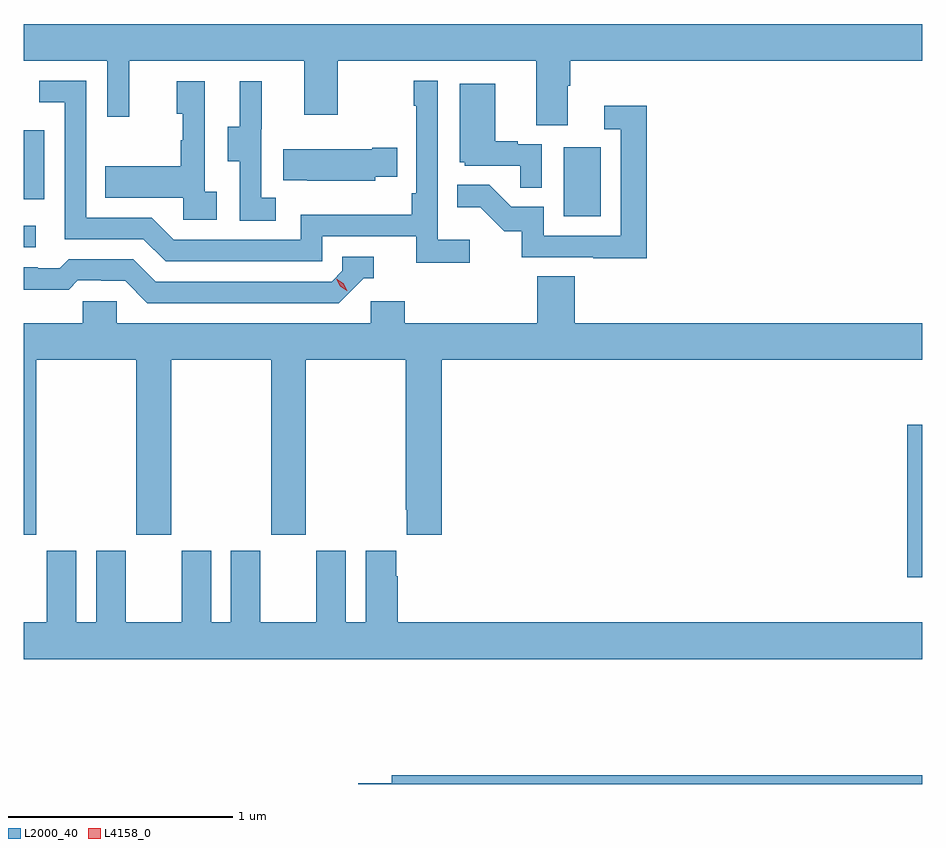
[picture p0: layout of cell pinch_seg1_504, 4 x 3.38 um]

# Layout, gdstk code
import gdstk
lib = gdstk.Library(unit=1e-6, precision=1e-09)
def R(c, l, rs):  # rectangles x0, y0, x1, y1
    for r in rs: c.add(gdstk.rectangle(r[:2], r[2:], *l))
def P(c, l, *ps):  # polygons
    for p in ps: c.add(gdstk.Polygon(p, *l))
L2000_40 = (2000, 40)
L4158_0 = (4158, 0)

pinch_seg1_504 = lib.new_cell('pinch_seg1_504')
R(pinch_seg1_504, L2000_40, [(1141.471,526.788,1141.538,527.468), (1137.538,528.258,1137.592,528.354), (1139.942,528.396,1140.106,528.703), (1137.538,528.471,1137.63,528.78)])
P(pinch_seg1_504, L2000_40, [(1139.959,528.976),(1139.972,528.976),(1139.972,529.088),(1141.538,529.088),(1141.538,529.252),(1137.538,529.252),(1137.538,529.088),(1137.909,529.088),(1137.909,528.84),(1138.007,528.84),(1138.007,529.088),(1138.787,529.088),(1138.787,528.849),(1138.935,528.849),(1138.935,529.088),(1139.819,529.088),(1139.819,528.802),(1139.959,528.802)],
  [(1139.524,528.292),(1139.382,528.292),(1139.382,529),(1139.274,529),(1139.274,528.887),(1139.286,528.887),(1139.286,528.499),(1139.266,528.499),(1139.266,528.403),(1138.77,528.403),(1138.77,528.291),(1138.206,528.291),(1138.107,528.39),(1137.816,528.39),(1137.816,528.999),(1137.607,528.999),(1137.607,528.903),(1137.72,528.903),(1137.72,528.294),(1138.07,528.294),(1138.169,528.195),(1138.866,528.195),(1138.866,528.306),(1139.285,528.306),(1139.285,528.19),(1139.524,528.19)],
  [(1138.396,528.506),(1138.344,528.506),(1138.344,528.997),(1138.22,528.997),(1138.22,528.852),(1138.246,528.852),(1138.246,528.734),(1138.236,528.734),(1138.236,528.619),(1137.901,528.619),(1137.901,528.479),(1138.248,528.479),(1138.248,528.381),(1138.396,528.381)],
  [(1138.66,528.479),(1138.596,528.479),(1138.596,528.783),(1138.598,528.783),(1138.598,528.997),(1138.499,528.997),(1138.499,528.795),(1138.445,528.795),(1138.445,528.64),(1138.5,528.64),(1138.5,528.376),(1138.66,528.376)],
  [(1139.844,528.717),(1139.738,528.717),(1139.738,528.73),(1139.638,528.73),(1139.638,528.985),(1139.48,528.985),(1139.48,528.636),(1139.502,528.636),(1139.502,528.621),(1139.749,528.621),(1139.749,528.523),(1139.844,528.523)],
  [(1140.311,528.889),(1140.123,528.889),(1140.123,528.783),(1140.195,528.783),(1140.195,528.309),(1139.853,528.309),(1139.853,528.438),(1139.709,528.438),(1139.611,528.536),(1139.467,528.536),(1139.467,528.437),(1139.571,528.437),(1139.678,528.33),(1139.755,528.33),(1139.755,528.213),(1140.073,528.213),(1140.073,528.208),(1140.311,528.208)],
  [(1139.103,528.572),(1139.201,528.572),(1139.201,528.702),(1139.09,528.702),(1139.09,528.694),(1138.693,528.694),(1138.693,528.557),(1138.801,528.557),(1138.801,528.554),(1139.103,528.554)],
  [(1139.052,528.12),(1139.095,528.12),(1139.095,528.216),(1138.956,528.216),(1138.956,528.153),(1138.908,528.105),(1138.125,528.105),(1138.026,528.204),(1137.737,528.204),(1137.698,528.165),(1137.599,528.165),(1137.599,528.168),(1137.538,528.168),(1137.538,528.069),(1137.737,528.069),(1137.779,528.111),(1137.882,528.111),(1137.882,528.108),(1137.989,528.108),(1138.088,528.009),(1138.941,528.009)],
  [(1137.594,527.756),(1138.039,527.756),(1138.039,526.977),(1138.194,526.977),(1138.194,527.756),(1138.639,527.756),(1138.639,526.977),(1138.794,526.977),(1138.794,527.756),(1139.239,527.756),(1139.239,527.089),(1139.243,527.089),(1139.243,526.977),(1139.399,526.977),(1139.399,527.756),(1141.538,527.756),(1141.538,527.92),(1139.99,527.92),(1139.99,528.128),(1139.825,528.128),(1139.825,527.92),(1139.234,527.92),(1139.234,528.018),(1139.082,528.018),(1139.082,527.92),(1137.951,527.92),(1137.951,528.018),(1137.801,528.018),(1137.801,527.92),(1137.538,527.92),(1137.538,526.977),(1137.594,526.977)],
  [(1141.538,526.588),(1139.204,526.588),(1139.204,526.793),(1139.197,526.793),(1139.197,526.906),(1139.06,526.906),(1139.06,526.588),(1138.972,526.588),(1138.972,526.906),(1138.841,526.906),(1138.841,526.588),(1138.591,526.588),(1138.591,526.906),(1138.46,526.906),(1138.46,526.588),(1138.372,526.588),(1138.372,526.906),(1138.241,526.906),(1138.241,526.588),(1137.991,526.588),(1137.991,526.906),(1137.86,526.906),(1137.86,526.588),(1137.772,526.588),(1137.772,526.906),(1137.641,526.906),(1137.641,526.588),(1137.538,526.588),(1137.538,526.424),(1141.538,526.424)],
  [(1141.538,525.908),(1139.177,525.908),(1139.177,525.872),(1139.028,525.872),(1139.028,525.868),(1141.538,525.868)])
P(pinch_seg1_504, L4158_0, [(1138.976,528.064),(1138.946,528.084),(1138.929,528.117),(1138.929,528.117),(1138.93,528.117),(1138.96,528.097),(1138.977,528.064),(1138.977,528.064)])

lib.write_gds('pinch_seg1_504.gds')
